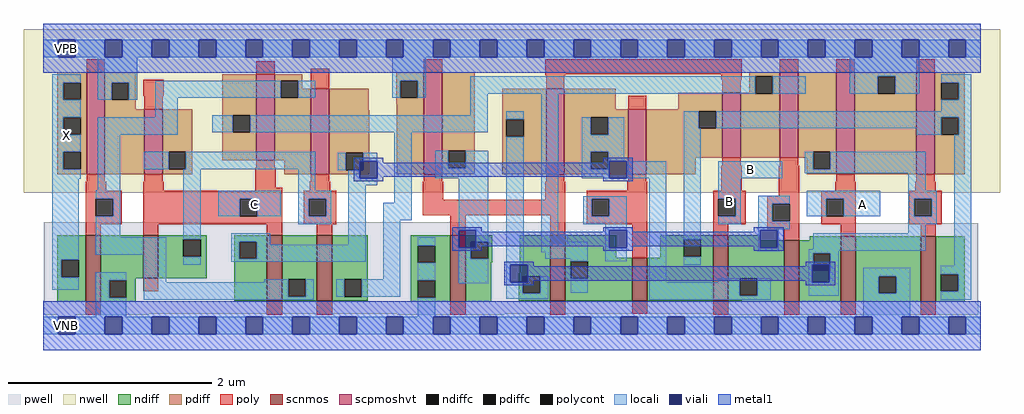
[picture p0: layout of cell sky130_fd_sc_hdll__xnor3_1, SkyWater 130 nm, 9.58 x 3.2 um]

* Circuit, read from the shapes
.subckt sky130_fd_sc_hdll__xnor3_1 A B C VGND VNB VPB VPWR X
XM1 VGND n1 X VNB sky130_fd_pr__nfet_01v8 w=0.65 l=0.15
XM2 n2 C VGND VNB sky130_fd_pr__nfet_01v8 w=0.42 l=0.15
XM3 n1 C n3 VNB sky130_fd_pr__nfet_01v8 w=0.64 l=0.15
XM4 n4 n2 n1 VNB sky130_fd_pr__nfet_01v8 w=0.64 l=0.15
XM5 n5 B VGND VNB sky130_fd_pr__nfet_01v8 w=0.65 l=0.15
XM6 n4 B n6 VNB sky130_fd_pr__nfet_01v8 w=0.64 l=0.15
XM7 n7 n5 n4 VNB sky130_fd_pr__nfet_01v8 w=0.42 l=0.15
XM8 n3 B n7 VNB sky130_fd_pr__nfet_01v8 w=0.64 l=0.15
XM9 n6 n5 n3 VNB sky130_fd_pr__nfet_01v8 w=0.6 l=0.15
XM10 VGND A n6 VNB sky130_fd_pr__nfet_01v8 w=0.64 l=0.15
XM11 n7 n6 VGND VNB sky130_fd_pr__nfet_01v8 w=0.64 l=0.15
XM12 VPWR n1 X VPB sky130_fd_pr__pfet_01v8_hvt w=1 l=0.18
XM13 n2 C VPWR VPB sky130_fd_pr__pfet_01v8_hvt w=0.64 l=0.18
XM14 n1 C n4 VPB sky130_fd_pr__pfet_01v8_hvt w=0.84 l=0.18
XM15 n3 n2 n1 VPB sky130_fd_pr__pfet_01v8_hvt w=0.84 l=0.18
XM16 n5 B VPWR VPB sky130_fd_pr__pfet_01v8_hvt w=1 l=0.18
XM17 n3 B n6 VPB sky130_fd_pr__pfet_01v8_hvt w=0.84 l=0.18
XM18 n7 n5 n3 VPB sky130_fd_pr__pfet_01v8_hvt w=0.64 l=0.18
XM19 n4 B n7 VPB sky130_fd_pr__pfet_01v8_hvt w=0.64 l=0.18
XM20 n6 n5 n4 VPB sky130_fd_pr__pfet_01v8_hvt w=0.84 l=0.18
XM21 VPWR A n6 VPB sky130_fd_pr__pfet_01v8_hvt w=1 l=0.18
XM22 n7 n6 VPWR VPB sky130_fd_pr__pfet_01v8_hvt w=1 l=0.18
.ends

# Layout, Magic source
magic
tech sky130A
magscale 1 2
<< nwell >>
rect -38 261 1878 582
<< pwell >>
rect 1 201 1431 203
rect 1 23 1835 201
rect 1 21 207 23
rect 695 21 905 23
rect 1346 21 1835 23
rect 29 -17 63 21
<< scnmos >>
rect 83 47 113 177
rect 196 93 226 177
rect 439 49 469 177
rect 537 49 567 177
rect 799 47 829 177
rect 995 49 1025 177
rect 1156 49 1186 133
rect 1315 49 1345 177
rect 1454 47 1484 167
rect 1565 47 1595 175
rect 1722 47 1752 175
<< scpmoshvt >>
rect 85 297 121 497
rect 198 297 234 425
rect 418 325 454 493
rect 525 297 561 465
rect 747 297 783 497
rect 987 297 1023 465
rect 1148 297 1184 425
rect 1333 329 1369 457
rect 1446 329 1482 497
rect 1557 297 1593 497
rect 1714 297 1750 497
<< ndiff >>
rect 27 129 83 177
rect 27 95 35 129
rect 69 95 83 129
rect 27 47 83 95
rect 113 93 196 177
rect 226 169 321 177
rect 226 135 275 169
rect 309 135 321 169
rect 226 93 321 135
rect 375 165 439 177
rect 375 131 385 165
rect 419 131 439 165
rect 113 89 181 93
rect 113 55 129 89
rect 163 55 181 89
rect 113 47 181 55
rect 375 49 439 131
rect 469 91 537 177
rect 469 57 481 91
rect 515 57 537 91
rect 469 49 537 57
rect 567 91 637 177
rect 567 57 591 91
rect 625 57 637 91
rect 567 49 637 57
rect 721 157 799 177
rect 721 123 735 157
rect 769 123 799 157
rect 721 89 799 123
rect 721 55 735 89
rect 769 55 799 89
rect 721 47 799 55
rect 829 165 881 177
rect 829 131 839 165
rect 873 131 881 165
rect 829 124 881 131
rect 829 47 879 124
rect 935 104 995 177
rect 933 97 995 104
rect 933 63 941 97
rect 975 63 995 97
rect 933 49 995 63
rect 1025 133 1125 177
rect 1211 169 1315 177
rect 1211 135 1257 169
rect 1291 135 1315 169
rect 1211 133 1315 135
rect 1025 126 1156 133
rect 1025 92 1035 126
rect 1069 92 1156 126
rect 1025 49 1156 92
rect 1186 49 1315 133
rect 1345 167 1405 177
rect 1505 167 1565 175
rect 1345 93 1454 167
rect 1345 59 1367 93
rect 1401 59 1454 93
rect 1345 49 1454 59
rect 1372 47 1454 49
rect 1484 142 1565 167
rect 1484 108 1511 142
rect 1545 108 1565 142
rect 1484 47 1565 108
rect 1595 97 1722 175
rect 1595 63 1640 97
rect 1674 63 1722 97
rect 1595 47 1722 63
rect 1752 101 1809 175
rect 1752 67 1762 101
rect 1796 67 1809 101
rect 1752 47 1809 67
<< pdiff >>
rect 27 477 85 497
rect 27 443 39 477
rect 73 443 85 477
rect 27 409 85 443
rect 27 375 39 409
rect 73 375 85 409
rect 27 341 85 375
rect 27 307 39 341
rect 73 307 85 341
rect 27 297 85 307
rect 121 477 181 497
rect 121 443 134 477
rect 168 443 181 477
rect 121 425 181 443
rect 121 297 198 425
rect 234 341 292 425
rect 234 307 246 341
rect 280 307 292 341
rect 351 413 418 493
rect 351 379 372 413
rect 406 379 418 413
rect 351 325 418 379
rect 454 481 508 493
rect 454 447 466 481
rect 500 465 508 481
rect 693 481 747 497
rect 500 447 525 465
rect 454 325 525 447
rect 234 297 292 307
rect 473 297 525 325
rect 561 423 639 465
rect 693 447 701 481
rect 735 447 747 481
rect 693 435 747 447
rect 561 339 640 423
rect 561 305 594 339
rect 628 305 640 339
rect 561 297 640 305
rect 694 297 747 435
rect 783 343 847 497
rect 1386 489 1446 497
rect 783 309 795 343
rect 829 309 847 343
rect 783 297 847 309
rect 901 405 987 465
rect 901 371 909 405
rect 943 371 987 405
rect 901 297 987 371
rect 1023 425 1124 465
rect 1386 457 1398 489
rect 1246 425 1333 457
rect 1023 409 1148 425
rect 1023 375 1075 409
rect 1109 375 1148 409
rect 1023 341 1148 375
rect 1023 307 1075 341
rect 1109 307 1148 341
rect 1023 297 1148 307
rect 1184 421 1333 425
rect 1184 387 1287 421
rect 1321 387 1333 421
rect 1184 329 1333 387
rect 1369 455 1398 457
rect 1432 455 1446 489
rect 1369 329 1446 455
rect 1482 341 1557 497
rect 1482 329 1511 341
rect 1184 297 1281 329
rect 1499 307 1511 329
rect 1545 307 1557 341
rect 1499 297 1557 307
rect 1593 489 1714 497
rect 1593 455 1638 489
rect 1672 455 1714 489
rect 1593 297 1714 455
rect 1750 477 1809 497
rect 1750 443 1763 477
rect 1797 443 1809 477
rect 1750 409 1809 443
rect 1750 375 1763 409
rect 1797 375 1809 409
rect 1750 297 1809 375
<< ndiffc >>
rect 35 95 69 129
rect 275 135 309 169
rect 385 131 419 165
rect 129 55 163 89
rect 481 57 515 91
rect 591 57 625 91
rect 735 123 769 157
rect 735 55 769 89
rect 839 131 873 165
rect 941 63 975 97
rect 1257 135 1291 169
rect 1035 92 1069 126
rect 1367 59 1401 93
rect 1511 108 1545 142
rect 1640 63 1674 97
rect 1762 67 1796 101
<< pdiffc >>
rect 39 443 73 477
rect 39 375 73 409
rect 39 307 73 341
rect 134 443 168 477
rect 246 307 280 341
rect 372 379 406 413
rect 466 447 500 481
rect 701 447 735 481
rect 594 305 628 339
rect 795 309 829 343
rect 909 371 943 405
rect 1075 375 1109 409
rect 1075 307 1109 341
rect 1287 387 1321 421
rect 1398 455 1432 489
rect 1511 307 1545 341
rect 1638 455 1672 489
rect 1763 443 1797 477
rect 1763 375 1797 409
<< poly >>
rect 85 497 121 523
rect 418 493 454 519
rect 196 451 236 483
rect 198 425 234 451
rect 525 465 561 504
rect 747 497 783 523
rect 418 310 454 325
rect 85 282 121 297
rect 198 282 234 297
rect 83 265 123 282
rect 196 265 236 282
rect 416 271 456 310
rect 985 493 1371 523
rect 1446 497 1482 523
rect 1557 497 1593 523
rect 1714 497 1750 523
rect 985 491 1025 493
rect 987 465 1023 491
rect 1331 483 1371 493
rect 1333 457 1369 483
rect 1148 425 1184 451
rect 1333 314 1369 329
rect 1446 314 1482 329
rect 525 282 561 297
rect 747 282 783 297
rect 987 282 1023 297
rect 1148 282 1184 297
rect 416 265 469 271
rect 523 265 563 282
rect 83 249 154 265
rect 83 215 103 249
rect 137 215 154 249
rect 83 199 154 215
rect 196 249 469 265
rect 196 215 386 249
rect 420 215 469 249
rect 196 199 469 215
rect 511 249 575 265
rect 511 215 521 249
rect 555 215 575 249
rect 745 247 785 282
rect 985 247 1025 282
rect 1146 265 1186 282
rect 1331 265 1371 314
rect 745 217 1025 247
rect 511 199 575 215
rect 83 177 113 199
rect 196 177 226 199
rect 439 177 469 199
rect 537 177 567 199
rect 799 177 829 217
rect 995 177 1025 217
rect 1067 249 1186 265
rect 1067 215 1077 249
rect 1111 215 1186 249
rect 1067 199 1186 215
rect 196 67 226 93
rect 83 21 113 47
rect 439 21 469 49
rect 537 21 567 49
rect 1156 133 1186 199
rect 1315 249 1379 265
rect 1444 255 1484 314
rect 1557 282 1593 297
rect 1714 282 1750 297
rect 1555 265 1595 282
rect 1712 265 1752 282
rect 1315 215 1325 249
rect 1359 215 1379 249
rect 1315 199 1379 215
rect 1421 239 1484 255
rect 1421 205 1431 239
rect 1465 205 1484 239
rect 1315 177 1345 199
rect 1421 189 1484 205
rect 1527 249 1595 265
rect 1527 215 1537 249
rect 1571 215 1595 249
rect 1527 199 1595 215
rect 1700 249 1764 265
rect 1700 215 1710 249
rect 1744 215 1764 249
rect 1700 199 1764 215
rect 1454 167 1484 189
rect 1565 175 1595 199
rect 1722 175 1752 199
rect 799 21 829 47
rect 995 21 1025 49
rect 1156 23 1186 49
rect 1315 21 1345 49
rect 1454 21 1484 47
rect 1565 21 1595 47
rect 1722 21 1752 47
<< polycont >>
rect 103 215 137 249
rect 386 215 420 249
rect 521 215 555 249
rect 1077 215 1111 249
rect 1325 215 1359 249
rect 1431 205 1465 239
rect 1537 215 1571 249
rect 1710 215 1744 249
<< locali >>
rect 0 527 29 561
rect 63 527 121 561
rect 155 527 213 561
rect 247 527 305 561
rect 339 527 397 561
rect 431 527 489 561
rect 523 527 581 561
rect 615 527 673 561
rect 707 527 765 561
rect 799 527 857 561
rect 891 527 949 561
rect 983 527 1041 561
rect 1075 527 1133 561
rect 1167 527 1225 561
rect 1259 527 1317 561
rect 1351 527 1409 561
rect 1443 527 1501 561
rect 1535 527 1593 561
rect 1627 527 1685 561
rect 1719 527 1777 561
rect 1811 527 1840 561
rect 17 477 73 493
rect 17 443 39 477
rect 107 477 184 527
rect 685 481 751 527
rect 1583 489 1719 527
rect 107 443 134 477
rect 168 443 184 477
rect 220 447 466 481
rect 500 447 534 481
rect 685 447 701 481
rect 735 447 751 481
rect 838 455 1398 489
rect 1432 455 1497 489
rect 1583 455 1638 489
rect 1672 455 1719 489
rect 1763 477 1822 493
rect 17 409 73 443
rect 220 409 264 447
rect 838 413 872 455
rect 17 375 39 409
rect 17 341 73 375
rect 17 307 39 341
rect 17 288 73 307
rect 107 375 264 409
rect 332 379 372 413
rect 406 379 872 413
rect 909 405 943 421
rect 17 129 69 288
rect 107 266 151 375
rect 197 307 246 341
rect 280 307 534 341
rect 103 249 151 266
rect 137 215 151 249
rect 103 173 151 215
rect 103 139 241 173
rect 17 95 35 129
rect 17 70 69 95
rect 103 89 163 105
rect 103 55 129 89
rect 103 17 163 55
rect 197 85 241 139
rect 275 169 309 307
rect 500 265 534 307
rect 578 305 594 339
rect 628 323 655 339
rect 599 289 621 305
rect 599 275 655 289
rect 343 249 466 265
rect 343 215 386 249
rect 420 215 466 249
rect 500 249 565 265
rect 500 215 521 249
rect 555 215 565 249
rect 500 199 565 215
rect 275 119 309 135
rect 369 165 445 181
rect 369 131 385 165
rect 419 159 445 165
rect 599 159 633 275
rect 689 241 723 379
rect 769 309 795 343
rect 829 309 873 343
rect 769 289 873 309
rect 419 131 633 159
rect 369 125 633 131
rect 667 207 723 241
rect 667 91 701 207
rect 815 187 873 289
rect 434 85 481 91
rect 197 57 481 85
rect 515 57 531 91
rect 575 57 591 91
rect 625 57 701 91
rect 735 157 769 173
rect 735 89 769 123
rect 197 51 531 57
rect 849 165 873 187
rect 815 131 839 153
rect 815 83 873 131
rect 909 119 943 371
rect 977 178 1011 455
rect 1797 443 1822 477
rect 1763 421 1822 443
rect 1057 375 1075 409
rect 1109 375 1140 409
rect 1057 341 1140 375
rect 1057 307 1075 341
rect 1109 323 1140 341
rect 1257 387 1287 421
rect 1321 409 1822 421
rect 1321 387 1763 409
rect 1109 307 1111 323
rect 1057 289 1111 307
rect 1145 289 1223 323
rect 1060 249 1145 254
rect 1060 215 1077 249
rect 1111 215 1145 249
rect 1060 199 1145 215
rect 1103 187 1145 199
rect 977 165 1029 178
rect 977 144 1069 165
rect 985 131 1069 144
rect 1035 126 1069 131
rect 1103 153 1111 187
rect 1103 126 1145 153
rect 909 85 917 119
rect 735 17 769 55
rect 909 63 941 85
rect 975 63 991 97
rect 1035 64 1069 92
rect 1189 85 1223 289
rect 1257 169 1291 387
rect 1715 375 1763 387
rect 1797 375 1822 409
rect 1325 289 1451 323
rect 1495 307 1511 341
rect 1545 307 1732 341
rect 1495 299 1732 307
rect 1325 249 1369 289
rect 1698 265 1732 299
rect 1359 215 1369 249
rect 1325 199 1369 215
rect 1403 239 1465 255
rect 1403 205 1431 239
rect 1499 249 1643 265
rect 1499 215 1537 249
rect 1571 215 1643 249
rect 1698 249 1754 265
rect 1698 215 1710 249
rect 1744 215 1754 249
rect 1403 189 1465 205
rect 1698 199 1754 215
rect 1403 187 1444 189
rect 1403 153 1407 187
rect 1441 153 1444 187
rect 1698 181 1732 199
rect 1403 146 1444 153
rect 1511 150 1732 181
rect 1503 147 1732 150
rect 1257 119 1291 135
rect 1503 142 1561 147
rect 1503 119 1511 142
rect 1325 85 1367 93
rect 909 53 991 63
rect 1189 59 1367 85
rect 1401 59 1428 93
rect 1503 85 1509 119
rect 1545 108 1561 142
rect 1788 117 1822 375
rect 1543 85 1561 108
rect 1503 59 1561 85
rect 1610 97 1702 113
rect 1610 63 1640 97
rect 1674 63 1702 97
rect 1189 51 1428 59
rect 1610 17 1702 63
rect 1762 101 1822 117
rect 1796 67 1822 101
rect 1762 51 1822 67
rect 0 -17 29 17
rect 63 -17 121 17
rect 155 -17 213 17
rect 247 -17 305 17
rect 339 -17 397 17
rect 431 -17 489 17
rect 523 -17 581 17
rect 615 -17 673 17
rect 707 -17 765 17
rect 799 -17 857 17
rect 891 -17 949 17
rect 983 -17 1041 17
rect 1075 -17 1133 17
rect 1167 -17 1225 17
rect 1259 -17 1317 17
rect 1351 -17 1409 17
rect 1443 -17 1501 17
rect 1535 -17 1593 17
rect 1627 -17 1685 17
rect 1719 -17 1777 17
rect 1811 -17 1840 17
<< viali >>
rect 29 527 63 561
rect 121 527 155 561
rect 213 527 247 561
rect 305 527 339 561
rect 397 527 431 561
rect 489 527 523 561
rect 581 527 615 561
rect 673 527 707 561
rect 765 527 799 561
rect 857 527 891 561
rect 949 527 983 561
rect 1041 527 1075 561
rect 1133 527 1167 561
rect 1225 527 1259 561
rect 1317 527 1351 561
rect 1409 527 1443 561
rect 1501 527 1535 561
rect 1593 527 1627 561
rect 1685 527 1719 561
rect 1777 527 1811 561
rect 621 305 628 323
rect 628 305 655 323
rect 621 289 655 305
rect 815 165 849 187
rect 815 153 839 165
rect 839 153 849 165
rect 1111 289 1145 323
rect 1111 153 1145 187
rect 917 97 951 119
rect 917 85 941 97
rect 941 85 951 97
rect 1407 153 1441 187
rect 1509 108 1511 119
rect 1511 108 1543 119
rect 1509 85 1543 108
rect 29 -17 63 17
rect 121 -17 155 17
rect 213 -17 247 17
rect 305 -17 339 17
rect 397 -17 431 17
rect 489 -17 523 17
rect 581 -17 615 17
rect 673 -17 707 17
rect 765 -17 799 17
rect 857 -17 891 17
rect 949 -17 983 17
rect 1041 -17 1075 17
rect 1133 -17 1167 17
rect 1225 -17 1259 17
rect 1317 -17 1351 17
rect 1409 -17 1443 17
rect 1501 -17 1535 17
rect 1593 -17 1627 17
rect 1685 -17 1719 17
rect 1777 -17 1811 17
<< metal1 >>
rect 0 561 1840 592
rect 0 527 29 561
rect 63 527 121 561
rect 155 527 213 561
rect 247 527 305 561
rect 339 527 397 561
rect 431 527 489 561
rect 523 527 581 561
rect 615 527 673 561
rect 707 527 765 561
rect 799 527 857 561
rect 891 527 949 561
rect 983 527 1041 561
rect 1075 527 1133 561
rect 1167 527 1225 561
rect 1259 527 1317 561
rect 1351 527 1409 561
rect 1443 527 1501 561
rect 1535 527 1593 561
rect 1627 527 1685 561
rect 1719 527 1777 561
rect 1811 527 1840 561
rect 0 496 1840 527
rect 609 323 667 329
rect 609 289 621 323
rect 655 320 667 323
rect 1099 323 1157 329
rect 1099 320 1111 323
rect 655 292 1111 320
rect 655 289 667 292
rect 609 283 667 289
rect 1099 289 1111 292
rect 1145 289 1157 323
rect 1099 283 1157 289
rect 803 187 861 193
rect 803 153 815 187
rect 849 184 861 187
rect 1099 187 1157 193
rect 1099 184 1111 187
rect 849 156 1111 184
rect 849 153 861 156
rect 803 147 861 153
rect 1099 153 1111 156
rect 1145 184 1157 187
rect 1395 187 1453 193
rect 1395 184 1407 187
rect 1145 156 1407 184
rect 1145 153 1157 156
rect 1099 147 1157 153
rect 1395 153 1407 156
rect 1441 153 1453 187
rect 1395 147 1453 153
rect 905 119 963 125
rect 905 85 917 119
rect 951 116 963 119
rect 1497 119 1555 125
rect 1497 116 1509 119
rect 951 88 1509 116
rect 951 85 963 88
rect 905 79 963 85
rect 1497 85 1509 88
rect 1543 85 1555 119
rect 1497 79 1555 85
rect 0 17 1840 48
rect 0 -17 29 17
rect 63 -17 121 17
rect 155 -17 213 17
rect 247 -17 305 17
rect 339 -17 397 17
rect 431 -17 489 17
rect 523 -17 581 17
rect 615 -17 673 17
rect 707 -17 765 17
rect 799 -17 857 17
rect 891 -17 949 17
rect 983 -17 1041 17
rect 1075 -17 1133 17
rect 1167 -17 1225 17
rect 1259 -17 1317 17
rect 1351 -17 1409 17
rect 1443 -17 1501 17
rect 1535 -17 1593 17
rect 1627 -17 1685 17
rect 1719 -17 1777 17
rect 1811 -17 1840 17
rect 0 -48 1840 -17
<< labels >>
flabel locali s 29 357 63 391 0 FreeSans 340 0 0 0 X
port 8 nsew signal output
flabel locali s 1325 289 1451 323 0 FreeSans 340 0 0 0 B
port 2 nsew signal input
flabel locali s 397 221 431 255 0 FreeSans 340 0 0 0 C
port 3 nsew signal input
flabel locali s 1592 221 1626 255 0 FreeSans 340 0 0 0 A
port 1 nsew signal input
flabel pwell s 29 -17 63 17 0 FreeSans 200 0 0 0 VNB
port 5 nsew ground bidirectional
flabel nwell s 29 527 63 561 0 FreeSans 200 0 0 0 VPB
port 6 nsew power bidirectional
flabel metal1 s 29 -17 63 17 0 FreeSans 200 0 0 0 VGND
port 4 nsew ground bidirectional
flabel metal1 s 29 527 63 561 0 FreeSans 200 0 0 0 VPWR
port 7 nsew power bidirectional
rlabel comment s 0 0 0 0 4 xnor3_1
rlabel locali s 1325 199 1369 289 1 B
port 2 nsew signal input
<< properties >>
string LEFsite unithd
string LEFclass CORE
string FIXED_BBOX 0 0 1840 544
string GDS_FILE $PDKPATH/libs.ref/sky130_fd_sc_hdll/gds/sky130_fd_sc_hdll.gds
string LEFsymmetry X Y R90
string GDS_END 1275986
string GDS_START 1263724
string LEFproperties maskLayoutSubType "abstract" prCellType "standard" originalViewName "layout"
<< end >>
